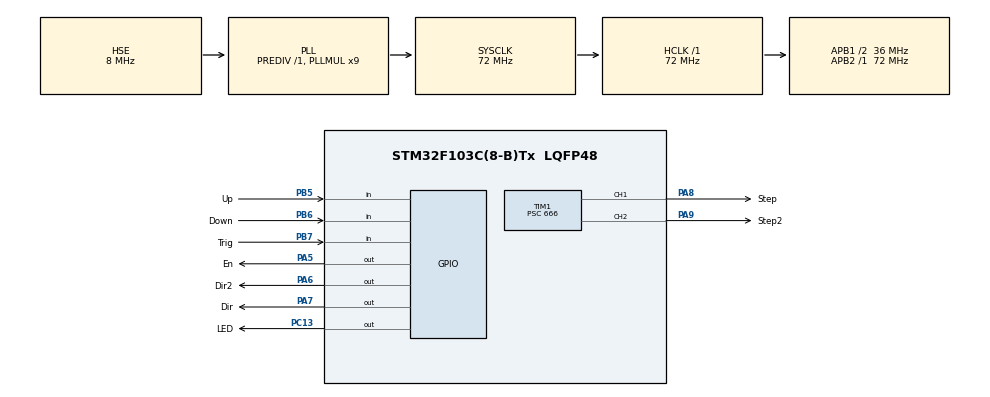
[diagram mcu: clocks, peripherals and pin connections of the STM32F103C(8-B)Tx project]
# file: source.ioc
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Mcu.Family=STM32F1
Mcu.Name=STM32F103C(8-B)Tx
Mcu.Package=LQFP48
NVIC.PriorityGroup=NVIC_PRIORITYGROUP_4
NVIC.TIM1_CC_IRQn=true\:0\:0\:false\:false\:true\:true\:true
PA13.Mode=Trace_Asynchronous_SW
PA13.Signal=SYS_JTMS-SWDIO
PA14.Mode=Trace_Asynchronous_SW
PA14.Signal=SYS_JTCK-SWCLK
PA5.GPIO_Label=En
PA5.GPIO_Speed=GPIO_SPEED_FREQ_HIGH
PA5.PinState=GPIO_PIN_SET
PA5.Signal=GPIO_Output
PA6.GPIO_Label=Dir2
PA6.Signal=GPIO_Output
PA7.GPIO_Label=Dir
PA7.GPIO_Speed=GPIO_SPEED_FREQ_HIGH
PA7.PinState=GPIO_PIN_SET
PA7.Signal=GPIO_Output
PA8.GPIO_Label=Step
PA8.GPIO_Speed=GPIO_SPEED_FREQ_HIGH
PA8.Signal=S_TIM1_CH1
PA9.GPIO_Label=Step2
PA9.Signal=S_TIM1_CH2
PB3.Mode=Trace_Asynchronous_SW
PB3.Signal=SYS_JTDO-TRACESWO
PB5.GPIO_Label=Up
PB5.GPIO_PuPd=GPIO_PULLUP
PB5.Signal=GPIO_Input
PB6.GPIO_Label=Down
PB6.GPIO_PuPd=GPIO_PULLUP
PB6.Signal=GPIO_Input
PB7.GPIO_Label=Trig
PB7.GPIO_PuPd=GPIO_PULLUP
PB7.Signal=GPIO_Input
PC13-TAMPER-RTC.GPIO_Label=LED
PC13-TAMPER-RTC.GPIO_PuPd=GPIO_NOPULL
PC13-TAMPER-RTC.GPIO_Speed=GPIO_SPEED_FREQ_HIGH
PC13-TAMPER-RTC.PinState=GPIO_PIN_SET
PC13-TAMPER-RTC.Signal=GPIO_Output
PC14-OSC32_IN.Mode=LSE-External-Oscillator
PC14-OSC32_IN.Signal=RCC_OSC32_IN
PC15-OSC32_OUT.Mode=LSE-External-Oscillator
PC15-OSC32_OUT.Signal=RCC_OSC32_OUT
PD0-OSC_IN.Mode=HSE-External-Oscillator
PD0-OSC_IN.Signal=RCC_OSC_IN
PD1-OSC_OUT.Mode=HSE-External-Oscillator
PD1-OSC_OUT.Signal=RCC_OSC_OUT
ProjectManager.HeapSize=0x200
ProjectManager.StackSize=0x400
ProjectManager.TargetToolchain=STM32CubeIDE
RCC.AHBFreq_Value=72000000
RCC.APB1CLKDivider=RCC_HCLK_DIV2
RCC.APB1Freq_Value=36000000
RCC.APB1TimFreq_Value=72000000
RCC.APB2Freq_Value=72000000
RCC.APB2TimFreq_Value=72000000
RCC.HCLKFreq_Value=72000000
RCC.PLLMUL=RCC_PLL_MUL9
RCC.PLLSourceVirtual=RCC_PLLSOURCE_HSE
RCC.SYSCLKFreq_VALUE=72000000
RCC.SYSCLKSource=RCC_SYSCLKSOURCE_PLLCLK
RCC.USBFreq_Value=72000000
SH.S_TIM1_CH1.0=TIM1_CH1,PWM Generation1 CH1
SH.S_TIM1_CH2.0=TIM1_CH2,PWM Generation2 CH2
TIM1.AutoReloadPreload=TIM_AUTORELOAD_PRELOAD_ENABLE
TIM1.Channel-PWM\ Generation1\ CH1=TIM_CHANNEL_1
TIM1.Channel-PWM\ Generation2\ CH2=TIM_CHANNEL_2
TIM1.Period=99
TIM1.Prescaler=666
TIM1.Pulse-PWM\ Generation1\ CH1=50
TIM1.Pulse-PWM\ Generation2\ CH2=50
VP_TIM1_VS_ClockSourceINT.Mode=Internal
board=custom

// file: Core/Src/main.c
/* USER CODE BEGIN Header */
/**
  ******************************************************************************
  * @file           : main.c
  * @brief          : Main program body
  ******************************************************************************
  * @attention
  *
  * <h2><center>&copy; Copyright (c) 2024 STMicroelectronics.
  * All rights reserved.</center></h2>
  *
  * This software component is licensed by ST under BSD 3-Clause license,
  * the "License"; You may not use this file except in compliance with the
  * License. You may obtain a copy of the License at:
  *                        opensource.org/licenses/BSD-3-Clause
  *
  ******************************************************************************
  */
/* USER CODE END Header */
#include "main.h"
#include "tim.h"
#include "gpio.h"

/* USER CODE BEGIN PTD */
const uint32_t addr_base = 0x0800fc00;
const uint32_t T_map[150] = {1777, 1765, 1754, 1742, 1730, 1718, 1707, 1695, 1683, 1671, 1660, 1648, 1636, 1625, 1613, 1601, 1589, 1578, 1566, 1554, 1543, 1531, 1519, 1507, 1496, 1484, 1472, 1460, 1449, 1437, 1425, 1414, 1402, 1390, 1378, 1367, 1355, 1343, 1331, 1320, 1308, 1296, 1285, 1273, 1261, 1249, 1238, 1226, 1214, 1202, 1191, 1179, 1167, 1156, 1144, 1132, 1120, 1109, 1097, 1085, 1074, 1062, 1050, 1038, 1027, 1015, 1003, 991, 980, 968, 956, 945, 933, 921, 909, 898, 886, 874, 862, 851, 839, 827, 816, 804, 792, 780, 769, 757, 745, 733, 722, 710, 698, 687, 675, 663, 651, 640, 628, 616, 605, 593, 581, 569, 558, 546, 534, 522, 511, 499, 487, 476, 464, 452, 440, 429, 417, 405, 393, 382, 370, 358, 347, 335, 323, 311, 300, 288, 276, 265, 253, 241, 229, 218, 206, 194, 182, 171, 159, 147, 136, 124, 112, 100, 89, 77, 65, 53, 42, 30};
const uint32_t T_map_tun[150]={1777, 1769, 1761, 1753, 1745, 1737, 1729, 1721, 1713, 1705, 1697, 1689, 1681, 1673, 1665, 1657, 1649, 1641, 1633, 1625, 1617, 1609, 1601, 1593, 1585, 1577, 1569, 1561, 1553, 1545, 1537, 1529, 1521, 1513, 1505, 1497, 1489, 1481, 1473, 1465, 1457, 1449, 1441, 1433, 1425, 1417, 1409, 1401, 1393, 1385, 1377, 1369, 1361, 1353, 1345, 1337, 1329, 1321, 1313, 1305, 1297, 1289, 1281, 1273, 1265, 1257, 1249, 1241, 1233, 1225, 1217, 1209, 1201, 1193, 1185, 1177, 1169, 1161, 1153, 1145, 1137, 1129, 1121, 1113, 1105, 1097, 1089, 1081, 1073, 1065, 1057, 1049, 1041, 1033, 1025, 1017, 1009, 1001, 993, 985, 977, 969, 961, 953, 945, 937, 929, 921, 913, 905, 897, 889, 881, 873, 865, 857, 849, 841, 833, 825, 817, 809, 801, 793, 785, 777, 769, 761, 753, 745, 737, 729, 721, 713, 705, 697, 689, 681, 673, 665, 657, 649, 641, 633, 625, 617, 609, 601, 593, 585};
/* USER CODE END PTD */

/* USER CODE BEGIN PM */

static void readVal(uint32_t *val)
{
    uint32_t addr = addr_base;
    *val = *(__IO uint32_t *) (addr);
}

static void saveValue(uint32_t val)
{
    HAL_FLASH_Unlock();
    FLASH_EraseInitTypeDef f;
    f.TypeErase = FLASH_TYPEERASE_PAGES;
    f.PageAddress = addr_base;
    f.NbPages = 1;
    uint32_t PageError = 0;
    HAL_FLASHEx_Erase(&f, &PageError);
    HAL_FLASH_Program(TYPEPROGRAM_WORD, addr_base, val);
    HAL_FLASH_Lock();
}

uint32_t getValue()
{
    uint32_t val =0;
    readVal(&val);
    return val;
}

/* USER CODE END PM */

/* USER CODE BEGIN PV */
static int32_t pos1;
static int32_t pos2;

static uint8_t movedFlag; // moved:1, never moved:0
static uint8_t direction; // Up:1, Down: 0
static uint8_t moving; // moving:1, station: 0
static uint8_t userControl; // control:1
static uint8_t waitingMoveUp; // waiting:1
static uint8_t needMoveUp; // need:1
static uint8_t moveTimeCnt;
static uint8_t continueMode; // continue:1
static uint8_t counterMode; // counter: 1
static uint8_t upClicked;  // clicked: 1
static uint8_t dwClicked;  // clicked: 1
static uint8_t tuning; // tuning: 1

static int32_t gCnt;
static uint32_t gNum;
/* USER CODE END PV */

void SystemClock_Config(void);

/* USER CODE BEGIN 0 */

static uint32_t GetTimeStampUS()
{
    // get ms
    uint32_t m = HAL_GetTick();
    // get tick reload value
    const uint32_t tms = SysTick->LOAD + 1;
    // get tick value
    __IO uint32_t u = tms - SysTick->VAL;
    // return value
    return(m*1000+(u*1000)/tms);
}

void addPos(int32_t val)
{
    pos1 = pos2;
    pos2 = val;
}

uint32_t getT(uint32_t num)
{
    return T_map[num];
}

uint8_t isClickUp()
{
    return 1-HAL_GPIO_ReadPin(Up_GPIO_Port, Up_Pin);
}

uint8_t isClickDw()
{
    return 1- HAL_GPIO_ReadPin(Down_GPIO_Port, Down_Pin);
}

uint8_t isClickTrg()
{
    return 1 - HAL_GPIO_ReadPin(Trig_GPIO_Port, Trig_Pin);
}

void initTimer()
{
//    __HAL_TIM_CLEAR_IT(&htim1,TIM_IT_UPDATE);
//    __HAL_TIM_CLEAR_IT(&htim1,TIM_IT_BREAK);
    __HAL_TIM_CLEAR_IT(&htim1,TIM_IT_CC1);
    __HAL_TIM_CLEAR_IT(&htim1,TIM_IT_CC2);
//    __HAL_TIM_CLEAR_IT(&htim1,TIM_IT_COM);
//    __HAL_TIM_CLEAR_IT(&htim1,TIM_IT_TRIGGER);
//    HAL_NVIC_ClearPendingIRQ(TIM1_BRK_IRQn);
//    HAL_NVIC_ClearPendingIRQ(TIM1_CC_IRQn);
//    HAL_NVIC_ClearPendingIRQ(TIM1_TRG_COM_IRQn);
//    HAL_NVIC_ClearPendingIRQ(TIM1_UP_IRQn);
    __HAL_TIM_SET_COUNTER(&htim1,0);
//    __HAL_TIM_SET_AUTORELOAD(&htim1,99);
}

void moveUp(uint32_t nums)
{
    direction = 1;
    HAL_GPIO_WritePin(Dir_GPIO_Port, Dir_Pin, direction);
    HAL_GPIO_WritePin(En_GPIO_Port, En_Pin, 1);
    gNum = nums;
    counterMode = 1;
    moving = 1;
    HAL_Delay(2);
    initTimer();
    htim1.Instance->PSC = T_map[0];
    HAL_TIM_PWM_Start_IT(&htim1, TIM_CHANNEL_1);
    while (moving) { HAL_Delay(1); }  // waiting move done
    HAL_Delay(2);
    direction = 0;
    HAL_GPIO_WritePin(Dir_GPIO_Port, Dir_Pin, direction);
    counterMode = 0;
}

void moveDw(uint32_t nums)
{
    direction = 0;
    HAL_GPIO_WritePin(Dir_GPIO_Port, Dir_Pin, direction);
    HAL_GPIO_WritePin(En_GPIO_Port, En_Pin, 1);
    gNum = nums;
    counterMode = 1;
    moving = 1;
    HAL_Delay(2);
    initTimer();
    htim1.Instance->PSC = T_map[0];
    HAL_TIM_PWM_Start_IT(&htim1, TIM_CHANNEL_1);
    while (moving) { HAL_Delay(1); }  // waiting move done
    HAL_Delay(2);
    counterMode = 0;
}

void turnPos60()
{
    tuning = 1;
    HAL_GPIO_WritePin(Dir2_GPIO_Port, Dir2_Pin, 1);
    HAL_GPIO_WritePin(En_GPIO_Port, En_Pin, 1);
    gNum = 534;
    counterMode = 1;
    moving = 1;
    HAL_Delay(2);
    initTimer();
    htim1.Instance->PSC = T_map_tun[0];
    HAL_TIM_PWM_Start_IT(&htim1, TIM_CHANNEL_2);
    while (moving) { HAL_Delay(1); }  // waiting move done
    HAL_Delay(2);
    tuning = 0;
    counterMode = 0;
}

void turnNeg30()
{
    tuning = 1;
    HAL_GPIO_WritePin(Dir2_GPIO_Port, Dir2_Pin, 0);
    HAL_GPIO_WritePin(En_GPIO_Port, En_Pin, 1);
    gNum = 267;
    counterMode = 1;
    moving = 1;
    HAL_Delay(2);
    initTimer();
    htim1.Instance->PSC = T_map_tun[0];
    HAL_TIM_PWM_Start_IT(&htim1, TIM_CHANNEL_2);
    while (moving) { HAL_Delay(1); }  // waiting move done
    HAL_Delay(2);
    tuning = 0;
    counterMode = 0;
}
/* USER CODE END 0 */

int main(void)
{

  /* MCU Configuration--------------------------------------------------------*/

  /* Reset of all peripherals, Initializes the Flash interface and the Systick. */
  HAL_Init();

  /* Configure the system clock */
  SystemClock_Config();

  /* Initialize all configured peripherals */
  MX_GPIO_Init();
  MX_TIM1_Init();
  /* USER CODE BEGIN 2 */
  static uint32_t timestamp;
  /* USER CODE END 2 */

  /* Infinite loop */
  /* USER CODE BEGIN WHILE */
  while (1)
  {
    if(isClickUp())
    {
        if(!upClicked)
        {
            upClicked = 1;
            continueMode = 1;
            direction = 1;
            HAL_GPIO_WritePin(Dir_GPIO_Port, Dir_Pin, direction);
            HAL_GPIO_WritePin(En_GPIO_Port, En_Pin, 1);
            htim1.Instance->PSC = 1777;
            HAL_TIM_PWM_Start_IT(&htim1, TIM_CHANNEL_1);
        }
    }
    else
    {
        if(upClicked)
        {
            upClicked = 0;
            HAL_TIM_PWM_Stop_IT(&htim1, TIM_CHANNEL_1);
            HAL_Delay(1);
            continueMode = 0;
            movedFlag = 1;
            direction = 0;
            HAL_GPIO_WritePin(Dir_GPIO_Port, Dir_Pin, direction);
        }
    }

    if(isClickDw())
    {
       if(!dwClicked)
        {
            dwClicked = 1;
            continueMode = 1;
            direction = 0;
            HAL_GPIO_WritePin(Dir_GPIO_Port, Dir_Pin, direction);
            HAL_GPIO_WritePin(En_GPIO_Port, En_Pin, 1);
            htim1.Instance->PSC = 1777;
            HAL_TIM_PWM_Start_IT(&htim1, TIM_CHANNEL_1);
          }
    }
    else
    {
        if(dwClicked)
        {
            dwClicked = 0;
            HAL_TIM_PWM_Stop_IT(&htim1, TIM_CHANNEL_1);
            HAL_Delay(1);
            continueMode = 0;
            movedFlag = 1;
        }
    }

    if(isClickTrg() && GetTimeStampUS()-timestamp>300000)
    {
        if(movedFlag)
        {
            addPos(gCnt);
            movedFlag = 0;
        }
        else {
            int32_t moveRange = pos2 - pos1;
            if (moveRange < 0) // just move up
            {
                saveValue(-moveRange);
                moveUp(-moveRange);
                pos1 = 0;
                pos2 = 0;
                gCnt = 0;
            }
            else if (moveRange > 0) // move down and up
            {
                saveValue(moveRange);
                pos1 = 0;
                pos2 = 0;
                gCnt = 0;
//                // move down
//                moveDw(moveRange);
//                HAL_Delay(500);
//                // move up
//                moveUp(moveRange);

            }
            else {
                // send NVM value
                uint32_t temMoveRange = 0;
                readVal(&temMoveRange);
                // move down
                moveDw(temMoveRange);
                HAL_Delay(300);
                // move up
                moveUp(temMoveRange);
                turnNeg30();
                // move down
                moveDw(temMoveRange);
                HAL_Delay(300);
                // move up
                moveUp(temMoveRange);
                turnPos60();
                // move down
                moveDw(temMoveRange);
                HAL_Delay(300);
                // move up
                moveUp(temMoveRange);
                turnNeg30();
            }
        }
        timestamp = GetTimeStampUS();
    }

    /* USER CODE END WHILE */

  }
}

void SystemClock_Config(void)
{
  RCC_OscInitTypeDef RCC_OscInitStruct = {0};
  RCC_ClkInitTypeDef RCC_ClkInitStruct = {0};

  /** Initializes the RCC Oscillators according to the specified parameters
  * in the RCC_OscInitTypeDef structure.
  */
  RCC_OscInitStruct.OscillatorType = RCC_OSCILLATORTYPE_HSE;
  RCC_OscInitStruct.HSEState = RCC_HSE_ON;
  RCC_OscInitStruct.HSEPredivValue = RCC_HSE_PREDIV_DIV1;
  RCC_OscInitStruct.HSIState = RCC_HSI_ON;
  RCC_OscInitStruct.PLL.PLLState = RCC_PLL_ON;
  RCC_OscInitStruct.PLL.PLLSource = RCC_PLLSOURCE_HSE;
  RCC_OscInitStruct.PLL.PLLMUL = RCC_PLL_MUL9;
  if (HAL_RCC_OscConfig(&RCC_OscInitStruct) != HAL_OK)
  {
    Error_Handler();
  }
  /** Initializes the CPU, AHB and APB buses clocks
  */
  RCC_ClkInitStruct.ClockType = RCC_CLOCKTYPE_HCLK|RCC_CLOCKTYPE_SYSCLK
                              |RCC_CLOCKTYPE_PCLK1|RCC_CLOCKTYPE_PCLK2;
  RCC_ClkInitStruct.SYSCLKSource = RCC_SYSCLKSOURCE_PLLCLK;
  RCC_ClkInitStruct.AHBCLKDivider = RCC_SYSCLK_DIV1;
  RCC_ClkInitStruct.APB1CLKDivider = RCC_HCLK_DIV2;
  RCC_ClkInitStruct.APB2CLKDivider = RCC_HCLK_DIV1;

  if (HAL_RCC_ClockConfig(&RCC_ClkInitStruct, FLASH_LATENCY_2) != HAL_OK)
  {
    Error_Handler();
  }
}

/* USER CODE BEGIN 4 */
static uint32_t pulse;
void HAL_TIM_PWM_PulseFinishedCallback(TIM_HandleTypeDef *htim)
{
    if(continueMode)
    {
        if(direction)
        {
            gCnt ++;
        }
        else
        {
            gCnt --;
        }
    }

    if(counterMode)
    {
        pulse ++;
        uint32_t centerNum = gNum/2;
        if(centerNum >= 150)
        {
            centerNum = 150;
        }
        if(pulse < centerNum)
        {
            if(tuning)
            {
                htim1.Instance->PSC = T_map_tun[pulse];
            }
            else
            {
                htim1.Instance->PSC = T_map[pulse];
            }

        }
        else
        {
            uint32_t tem_pulse = gNum - pulse;
            if(tem_pulse < centerNum)
            {
                if(tuning)
                {
                    htim1.Instance->PSC = T_map_tun[tem_pulse];
                }
                else
                {
                    htim1.Instance->PSC = T_map[tem_pulse];
                }
            }
        }
        if(pulse >= gNum)
        {
            if(tuning)
            {
                HAL_TIM_PWM_Stop_IT(&htim1, TIM_CHANNEL_2);
            }
            else
            {
                HAL_TIM_PWM_Stop_IT(&htim1, TIM_CHANNEL_1);
            }
            pulse = 0;
            moving = 0;
        }
    }
}
/* USER CODE END 4 */

void Error_Handler(void)
{
  __disable_irq();
  while (1)
  {
  }
}

/************************ (C) COPYRIGHT STMicroelectronics *****END OF FILE****/
